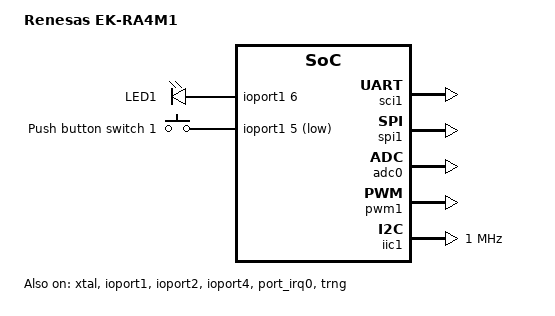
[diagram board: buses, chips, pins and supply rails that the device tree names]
/*
 * Copyright (c) 2024-2025 Renesas Electronics Corporation
 * SPDX-License-Identifier: Apache-2.0
 */

/dts-v1/;

#include <renesas/ra/ra4/r7fa4m1ab3cfp.dtsi>
#include <dt-bindings/gpio/gpio.h>
#include <zephyr/dt-bindings/adc/adc.h>
#include <dt-bindings/input/input-event-codes.h>
#include "ek_ra4m1-pinctrl.dtsi"

/ {
	model = "Renesas EK-RA4M1";
	compatible = "renesas,ra4m1", "renesas,ra";

	chosen {
		zephyr,sram = &sram0;
		zephyr,flash = &flash0;
		zephyr,console = &uart1;
		zephyr,shell-uart = &uart1;
		zephyr,entropy = &trng;
	};

	leds {
		compatible = "gpio-leds";

		led1: led1 {
			gpios = <&ioport1 6 GPIO_ACTIVE_HIGH>;
			label = "LED1";
		};
	};

	buttons {
		compatible = "gpio-keys";

		button0: s1 {
			gpios = <&ioport1 5 (GPIO_PULL_UP | GPIO_ACTIVE_LOW)>;
			label = "Push button switch 1";
			zephyr,code = <INPUT_KEY_0>;
		};
	};

	aliases {
		led0 = &led1;
		sw0 = &button0;
	};
};

&xtal {
	clock-frequency = <DT_FREQ_M(12)>;
	mosel = <0>;
	#clock-cells = <0>;
	status = "okay";
};

&subclk {
	status = "okay";
};

&pll {
	clocks = <&xtal>;
	div = <2>;
	mul = <8 0>;
	status = "okay";
};

&sci1 {
	pinctrl-0 = <&sci1_default>;
	pinctrl-names = "default";
	status = "okay";

	uart1: uart {
		current-speed = <115200>;
		status = "okay";
	};
};

&ioport1 {
	status = "okay";
};

&ioport2 {
	status = "okay";
};

&ioport4 {
	status = "okay";
};

&spi1 {
	pinctrl-0 = <&spi1_default>;
	pinctrl-names = "default";
	status = "okay";
};

&adc0 {
	status = "okay";
	pinctrl-0 = <&adc0_default>;
	pinctrl-names = "default";
};

&port_irq0 {
	interrupts = <27 12>;
	status = "okay";
};

&trng {
	status = "okay";
};

&pwm1 {
	pinctrl-0 = <&pwm1_default>;
	pinctrl-names = "default";
	interrupts = <8 1>, <9 1>;
	interrupt-names = "gtioca", "overflow";
	status = "okay";
};

&iic1 {
	pinctrl-0 = <&iic1_default>;
	pinctrl-names = "default";
	#address-cells = <1>;
	#size-cells = <0>;
	clock-frequency = <DT_FREQ_M(1)>;
	interrupts = <10 1>, <11 1>, <12 1>, <13 1>;
	interrupt-names = "rxi", "txi", "tei", "eri";
	status = "okay";
};
